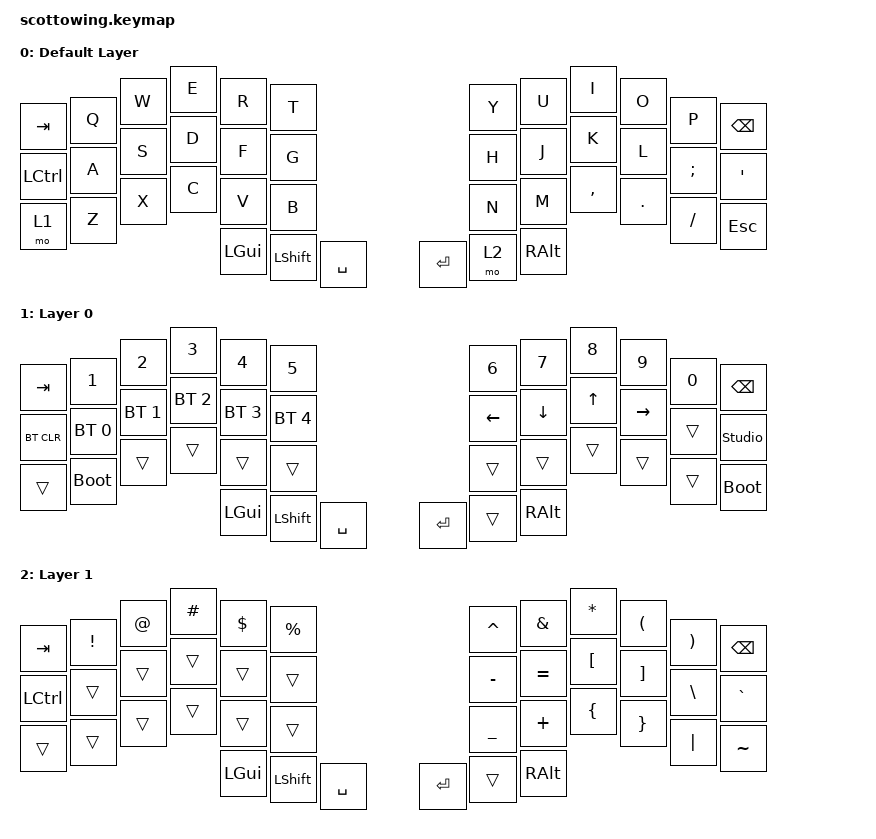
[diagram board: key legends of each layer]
#include <behaviors.dtsi>
#include <dt-bindings/zmk/keys.h>
#include <dt-bindings/zmk/bt.h>

#define MAC 0
#define MAC_CODE 1
#define MAC_NUMBER 2
#define MAC_FUNCTION 3
#define WINDOWS 4
#define WINDOWS_CODE 5
#define WINDOWS_NUMBER 6
#define WINDOWS_FUNCTION 7

    // Behavior Overrides
    &lt {
        tapping-term-ms = <200>;
        flavor = "hold-preferred";
    };

/ {
    //combos {
      //  compatible = "zmk,combos";
        
        //combo_tab {
        //  timeout-ms = <20>;
        //  key-positions = <1 2>;
        //  bindings = <&kp TAB>;
        //};

      //  combo_enter {
        //    timeout-ms = <20>;
          //  key-positions = <13 14>;
            //bindings = <&kp ENTER>;
        //};
    //};

    macros {
        spotlight: spotlight {
            label = "spotlight";
            compatible = "zmk,behavior-macro";
            #binding-cells = <0>;
            bindings = <&macro_press &kp LGUI>, <&macro_tap &kp SPACE>, <&macro_release &kp LGUI>; 
        };

        // Emoji
        mac_emoji: mac_emoji {
            label = "mac_emoji";
            compatible = "zmk,behavior-macro";
            #binding-cells = <0>;
            bindings = <&macro_press &kp LGUI>, <&macro_press &kp LCTRL>, <&macro_tap &kp SPACE>, <&macro_release &kp LCTRL>, <&macro_release &kp LGUI>; 
        };

        windows_emoji: windows_emoji {
            label = "windows_emoji";
            compatible = "zmk,behavior-macro";
            #binding-cells = <0>;
            bindings = <&macro_press &kp LGUI>, <&macro_tap &kp DOT>, <&macro_release &kp LGUI>; 
        };
    };

    behaviors {
        bm: bottom_row_mods {
            compatible = "zmk,behavior-hold-tap";
            label = "BOTTOM_ROW_MODS";
            #binding-cells = <2>;
            tapping-term-ms = <135>;
            quick-tap-ms = <0>;
            flavor = "tap-preferred";
            bindings = <&kp>, <&kp>;
        };

        cm: code_row_mods {
            compatible = "zmk,behavior-hold-tap";
            label = "CODE_ROW_MODS";
            #binding-cells = <2>;
            tapping-term-ms = <200>;
            quick-tap-ms = <0>;
            flavor = "tap-preferred";
            bindings = <&kp>, <&kp>;
            retro-tap;
        };

        sm: space_mod {
            compatible = "zmk,behavior-hold-tap";
            label = "SPACE_MOD";
            #binding-cells = <2>;
            flavor = "balanced";
            tapping-term-ms = <200>;
            quick-tap-ms = <125>;
            bindings = <&kp>, <&kp>;
        };

        td_multi_mac: tap_dance_multi_mac {
            compatible = "zmk,behavior-tap-dance";
            label = "TAP_DANCE_MULTI_MAC";
            #binding-cells = <0>;
            tapping-term-ms = <200>;
            bindings = <&sm ESC LALT>, <&spotlight>, <&kp LCTRL>, <&mac_emoji>;
        };

        td_multi_windows: tap_dance_multi_windows {
            compatible = "zmk,behavior-tap-dance";
            label = "TAP_DANCE_MULTI_WINDOWS";
            #binding-cells = <0>;
            tapping-term-ms = <200>;
            bindings = <&sm ESC LALT>, <&kp LGUI>, <&windows_emoji>;
        };
    };
    
    keymap {
        compatible = "zmk,keymap";

            base_layer {
                display-name = "Default Layer";
                // -----------------------------------------------------------------------------------------
                // |  TAB |  Q  |  W  |  E  |  R  |  T   |   |  Y  |  U   |  I  |  O  |  P  | BSPC |
                // | CTRL |  A  |  S  |  D  |  F  |  G   |   |  H  |  J   |  K  |  L  |  ;  |  '   |
                // | LWR  |  Z  |  X  |  C  |  V  |  B   |   |  N  |  M   |  ,  |  .  |  /  | ESC  |
                //                    | GUI | SHFT | SPC |   | ENT | RSE  | ALT |
                bindings = <
                    &kp TAB   &kp Q &kp W &kp E &kp R &kp T              &kp Y &kp U  &kp I     &kp O   &kp P    &kp BSPC
                    &kp LCTRL &kp A &kp S &kp D &kp F &kp G              &kp H &kp J  &kp K     &kp L   &kp SEMI &kp SQT
                    &mo 1     &kp Z &kp X &kp C &kp V &kp B              &kp N &kp M  &kp COMMA &kp DOT &kp FSLH &kp ESC
                                &kp LGUI &kp LSHFT &kp SPACE             &kp RET &mo 2 &kp RALT
                >;
            };

            layer_0 {
                display-name = "Layer 0";
                // -----------------------------------------------------------------------------------------
                // |  TAB |  1  |  2  |  3  |  4   |  5  |   |  6  |  7  |  8  |  9  |  0  | BSPC |
                // | BTCLR| BT1 | BT2 | BT3 | BT4  | BT5 |   | LFT | DWN |  UP | RGT |     |      |
                // |      |     |     |     |      |     |   |     |     |     |     |     |      |
                //                    | GUI | SHFT | SPC |   | ENT |     | ALT |
                bindings = <
                    &kp TAB    &kp N1       &kp N2       &kp N3       &kp N4       &kp N5         &kp N6   &kp N7   &kp N8 &kp N9    &kp N0 &kp BSPC
                    &bt BT_CLR &bt BT_SEL 0 &bt BT_SEL 1 &bt BT_SEL 2 &bt BT_SEL 3 &bt BT_SEL 4   &kp LEFT &kp DOWN &kp UP &kp RIGHT &trans &studio_unlock
                    &trans     &bootloader  &trans       &trans       &trans       &trans         &trans   &trans   &trans &trans    &trans &bootloader
                                                        &kp LGUI     &kp LSHFT    &kp SPACE      &kp RET  &trans   &kp RALT
                >;
            };

            layer_1 {
                display-name = "Layer 1";
                // -----------------------------------------------------------------------------------------
                // |  TAB |  !  |  @  |  #  |  $   |  %  |   |  ^  |  &  |  *  |  (  |  )  | BSPC |
                // | CTRL |     |     |     |      |     |   |  -  |  =  |  [  |  ]  |  \  |  `   |
                // |      |     |     |     |      |     |   |  _  |  +  |  {  |  }  | "|" |  ~   |
                //                    | GUI | SHFT | SPC |   | ENT |     | ALT |
                bindings = <
                    &kp  TAB  &kp EXCL &kp AT &kp HASH &kp DLLR &kp PRCNT   &kp CARET &kp AMPS   &kp ASTRK &kp LPAR &kp RPAR &kp BSPC
                    &kp LCTRL &trans   &trans &trans   &trans    &trans      &kp MINUS &kp EQUAL &kp LBKT  &kp RBKT &kp BSLH &kp GRAVE
                    &trans    &trans   &trans &trans   &trans    &trans      &kp UNDER &kp PLUS  &kp LBRC  &kp RBRC &kp PIPE &kp TILDE
                                            &kp LGUI &kp LSHFT &kp SPACE   &kp RET   &trans    &kp RALT
                >;
            };

            layer_2 {
                display-name = "Layer 2";
                status = "reserved";
            };

            layer_3 {
                display-name = "Layer 3";
                status = "reserved";
            };

            layer_4 {
                display-name = "Layer 4";
                status = "reserved";
            };

            layer_5 {
                display-name = "Layer 5";
                status = "reserved";
            };

            layer_6 {
                display-name = "Layer 6";
                status = "reserved";
            };

            layer_7 {
                display-name = "Layer 7";
                status = "reserved";
            };
    };
};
